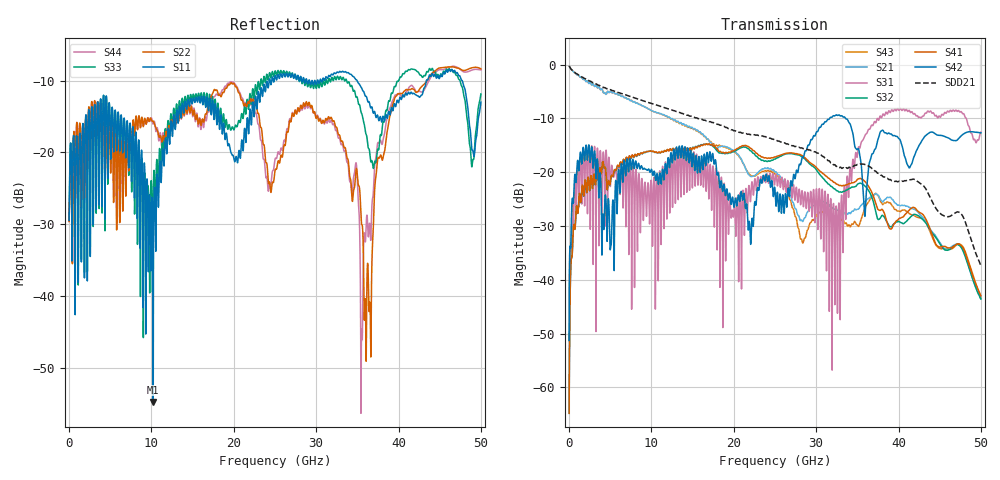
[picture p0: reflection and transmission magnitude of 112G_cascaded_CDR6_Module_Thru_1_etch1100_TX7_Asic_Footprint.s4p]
! Created Tue Feb 26 16:39:17 2019
# hz S ma R 50
! 4 Port Network Data from SP1.SP block
! freq  magS11  angS11  magS12  angS12  magS13  angS13  magS14  angS14
!  magS21  angS21  magS22  angS22  magS23  angS23  magS24  angS24
!  magS31  angS31  magS32  angS32  magS33  angS33  magS34  angS34
!  magS41  angS41  magS42  angS42  magS43  angS43  magS44  angS44
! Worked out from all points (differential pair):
!   5000 points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, 10 MHz to 50 GHz, reference 50 ohm
!   strongest paths, dB at 10 MHz, 12.51 GHz, 25.01 GHz, 37.51 GHz, 50 GHz:
!     S42: -51.3, -18.1, -23.3, -13.9, -12.7
!     S41: -64.8, -15.9, -17.2, -26.9, -43.0
!     S32: -64.8, -15.9, -17.6, -28.8, -43.6
!     S31: -51.2, -21.6, -21.6, -10.2, -12.6
!     S21: -0.3, -10.0, -20.0, -24.3, -43.5
!     S43: -0.3, -10.1, -20.4, -24.3, -43.4
!   taken as a pair (ports 1,3 in; 2,4 out), SDD21 dB: -0.3, -8.5, -14.0, -20.2, -37.3
!   lowest |S11| = -54.7 dB at 10.22 GHz (marker M1), VSWR 1.00, Z = 49.9 + j0.164 ohm
!   |S11| at or under -10 dB: start of sweep to 24.29 GHz; 34.96 GHz to 43.39 GHz (8.427 GHz wide, 21.5 % of centre); 47.73 GHz to end of sweep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
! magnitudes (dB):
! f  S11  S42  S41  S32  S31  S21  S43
! 10 MHz  -29.4  -51.3  -64.8  -64.8  -51.2  -0.3  -0.3
! 1.44 GHz  -22.8  -16.8  -25.6  -25.6  -18.1  -2.4  -2.4
! 10.22 GHz  -54.7  -20.5  -16.1  -16.2  -23.9  -8.7  -8.7
! 31.96 GHz  -9.2  -9.7  -21.6  -22.7  -39.9  -26.5  -28.0
! 35.55 GHz  -11.1  -20.0  -21.3  -22.2  -14.3  -26.0  -28.3
! 39.41 GHz  -13.6  -13.2  -29.7  -29.6  -8.6  -25.3  -26.6
! 50 GHz  -13.0  -12.7  -43.0  -43.6  -12.6  -43.5  -43.4
